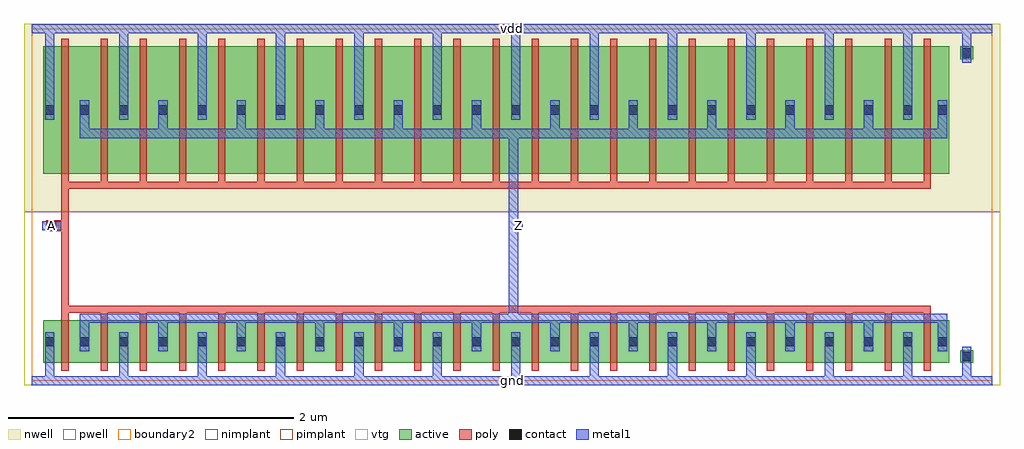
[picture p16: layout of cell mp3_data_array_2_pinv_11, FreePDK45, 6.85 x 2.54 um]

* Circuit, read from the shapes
.subckt mp3_data_array_2_pinv_11 A Z gnd vdd
M1 Z A gnd gnd nfet w=0.2975u l=0.05u m=23
M2 Z A vdd vdd pfet w=0.8925u l=0.05u m=23
.ends

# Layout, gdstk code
import gdstk
lib = gdstk.Library(unit=1e-6, precision=5e-10)
def R(c, l, rs):  # rectangles x0, y0, x1, y1
    for r in rs: c.add(gdstk.rectangle(r[:2], r[2:], *l))
def A(c, l, x, y, w, h, nx, ny, dx, dy):  # array of equal rectangles
    R(c, l, [(x+i*dx, y+j*dy, x+i*dx+w, y+j*dy+h) for i in range(nx) for j in range(ny)])
active = (1, 0)
pwell = (2, 0)
nwell = (3, 0)
nimplant = (4, 0)
pimplant = (5, 0)
vtg = (6, 0)
poly = (9, 0)
contact = (10, 0)
metal1 = (11, 0)
boundary2 = (239, 0)

mp3_data_array_2_contact = lib.new_cell('mp3_data_array_2_contact_11')
R(mp3_data_array_2_contact, active, [(0,0.0225,0.09,0.1125)])
R(mp3_data_array_2_contact, nwell, [(-0.055,-0.0325,0.145,0.1675)])
R(mp3_data_array_2_contact, pimplant, [(0,0.0225,0.09,0.1125)])
R(mp3_data_array_2_contact, contact, [(0.0125,0.035,0.0775,0.1)])
R(mp3_data_array_2_contact, metal1, [(0.0125,0,0.0775,0.135)])
R(mp3_data_array_2_contact, boundary2, [(-0.055,-0.0325,0.145,0.1675)])

mp3_data_array_2_pmos_m2 = lib.new_cell('mp3_data_array_2_pmos_m23_w0_893_sm1_dm1_da_p')
R(mp3_data_array_2_pmos_m2, active, [(0,0,6.355,0.8925)])
R(mp3_data_array_2_pmos_m2, nwell, [(-0.08,-0.08,6.435,0.9725)])
R(mp3_data_array_2_pmos_m2, pimplant, [(0,0,6.355,0.8925)])
R(mp3_data_array_2_pmos_m2, vtg, [(-0.08,-0.08,6.435,0.9725)])
A(mp3_data_array_2_pmos_m2, poly, 0.1275, -0.055, 0.05, 1.0025, 23, 1, 0.275, 0)
R(mp3_data_array_2_pmos_m2, poly, [(0.1275,-0.105,6.2275,-0.055)])
A(mp3_data_array_2_pmos_m2, metal1, 0.2575, 0.28, 0.065, 0.165, 11, 1, 0.55, 0)
A(mp3_data_array_2_pmos_m2, metal1, 0.5325, 0.38, 0.065, 0.135, 11, 1, 0.55, 0)
R(mp3_data_array_2_pmos_m2, metal1, [(0.2575,0.25,6.3425,0.315), (6.2775,0.28,6.3425,0.445), (0.0125,0.38,0.0775,0.515)])
R(mp3_data_array_2_pmos_m2, boundary2, [(-0.08,-0.105,6.435,0.9725)])
mp3_data_array_2_pmos_m2.add(gdstk.Reference(mp3_data_array_2_contact, (0,0.38)))
mp3_data_array_2_pmos_m2.add(gdstk.Reference(mp3_data_array_2_contact, (0.245,0.38)))
mp3_data_array_2_pmos_m2.add(gdstk.Reference(mp3_data_array_2_contact, (0.52,0.38)))
mp3_data_array_2_pmos_m2.add(gdstk.Reference(mp3_data_array_2_contact, (0.795,0.38)))
mp3_data_array_2_pmos_m2.add(gdstk.Reference(mp3_data_array_2_contact, (1.07,0.38)))
mp3_data_array_2_pmos_m2.add(gdstk.Reference(mp3_data_array_2_contact, (1.345,0.38)))
mp3_data_array_2_pmos_m2.add(gdstk.Reference(mp3_data_array_2_contact, (1.62,0.38)))
mp3_data_array_2_pmos_m2.add(gdstk.Reference(mp3_data_array_2_contact, (1.895,0.38)))
mp3_data_array_2_pmos_m2.add(gdstk.Reference(mp3_data_array_2_contact, (2.17,0.38)))
mp3_data_array_2_pmos_m2.add(gdstk.Reference(mp3_data_array_2_contact, (2.445,0.38)))
mp3_data_array_2_pmos_m2.add(gdstk.Reference(mp3_data_array_2_contact, (2.72,0.38)))
mp3_data_array_2_pmos_m2.add(gdstk.Reference(mp3_data_array_2_contact, (2.995,0.38)))
mp3_data_array_2_pmos_m2.add(gdstk.Reference(mp3_data_array_2_contact, (3.27,0.38)))
mp3_data_array_2_pmos_m2.add(gdstk.Reference(mp3_data_array_2_contact, (3.545,0.38)))
mp3_data_array_2_pmos_m2.add(gdstk.Reference(mp3_data_array_2_contact, (3.82,0.38)))
mp3_data_array_2_pmos_m2.add(gdstk.Reference(mp3_data_array_2_contact, (4.095,0.38)))
mp3_data_array_2_pmos_m2.add(gdstk.Reference(mp3_data_array_2_contact, (4.37,0.38)))
mp3_data_array_2_pmos_m2.add(gdstk.Reference(mp3_data_array_2_contact, (4.645,0.38)))
mp3_data_array_2_pmos_m2.add(gdstk.Reference(mp3_data_array_2_contact, (4.92,0.38)))
mp3_data_array_2_pmos_m2.add(gdstk.Reference(mp3_data_array_2_contact, (5.195,0.38)))
mp3_data_array_2_pmos_m2.add(gdstk.Reference(mp3_data_array_2_contact, (5.47,0.38)))
mp3_data_array_2_pmos_m2.add(gdstk.Reference(mp3_data_array_2_contact, (5.745,0.38)))
mp3_data_array_2_pmos_m2.add(gdstk.Reference(mp3_data_array_2_contact, (6.02,0.38)))
mp3_data_array_2_pmos_m2.add(gdstk.Reference(mp3_data_array_2_contact, (6.265,0.38)))
mp3_data_array_2_pmos_m2.add(gdstk.Label('G', (3.1775,-0.08), layer=9, texttype=0))
mp3_data_array_2_pmos_m2.add(gdstk.Label('S', (5.515,0.4475), layer=11, texttype=0))
mp3_data_array_2_pmos_m2.add(gdstk.Label('S', (1.115,0.4475), layer=11, texttype=0))
mp3_data_array_2_pmos_m2.add(gdstk.Label('S', (0.565,0.4475), layer=11, texttype=0))
mp3_data_array_2_pmos_m2.add(gdstk.Label('S', (4.965,0.4475), layer=11, texttype=0))
mp3_data_array_2_pmos_m2.add(gdstk.Label('S', (2.215,0.4475), layer=11, texttype=0))
mp3_data_array_2_pmos_m2.add(gdstk.Label('S', (2.765,0.4475), layer=11, texttype=0))
mp3_data_array_2_pmos_m2.add(gdstk.Label('S', (4.415,0.4475), layer=11, texttype=0))
mp3_data_array_2_pmos_m2.add(gdstk.Label('S', (1.665,0.4475), layer=11, texttype=0))
mp3_data_array_2_pmos_m2.add(gdstk.Label('S', (0.045,0.4475), layer=11, texttype=0))
mp3_data_array_2_pmos_m2.add(gdstk.Label('S', (3.865,0.4475), layer=11, texttype=0))
mp3_data_array_2_pmos_m2.add(gdstk.Label('S', (3.315,0.4475), layer=11, texttype=0))
mp3_data_array_2_pmos_m2.add(gdstk.Label('S', (6.065,0.4475), layer=11, texttype=0))
mp3_data_array_2_pmos_m2.add(gdstk.Label('D', (3.3,0.2825), layer=11, texttype=0))

c_mp3_data_array_2_contact = lib.new_cell('mp3_data_array_2_contact_10')
R(c_mp3_data_array_2_contact, active, [(0,0.0225,0.09,0.1125)])
R(c_mp3_data_array_2_contact, pwell, [(-0.055,-0.0325,0.145,0.1675)])
R(c_mp3_data_array_2_contact, nimplant, [(0,0.0225,0.09,0.1125)])
R(c_mp3_data_array_2_contact, contact, [(0.0125,0.035,0.0775,0.1)])
R(c_mp3_data_array_2_contact, metal1, [(0.0125,0,0.0775,0.135)])
R(c_mp3_data_array_2_contact, boundary2, [(-0.055,-0.0325,0.145,0.1675)])

mp3_data_array_2_nmos_m2 = lib.new_cell('mp3_data_array_2_nmos_m23_w0_297_sm1_dm1_da_p')
R(mp3_data_array_2_nmos_m2, active, [(0,0,6.355,0.2975)])
R(mp3_data_array_2_nmos_m2, pwell, [(-0.08,-0.08,6.435,0.3775)])
R(mp3_data_array_2_nmos_m2, nimplant, [(0,0,6.355,0.2975)])
R(mp3_data_array_2_nmos_m2, vtg, [(-0.08,-0.08,6.435,0.3775)])
A(mp3_data_array_2_nmos_m2, poly, 0.1275, -0.055, 0.05, 0.4075, 23, 1, 0.275, 0)
R(mp3_data_array_2_nmos_m2, poly, [(0.1275,0.3525,6.2275,0.4025)])
A(mp3_data_array_2_nmos_m2, metal1, 0.5325, 0.08, 0.065, 0.135, 11, 1, 0.55, 0)
A(mp3_data_array_2_nmos_m2, metal1, 0.2575, 0.15, 0.065, 0.165, 11, 1, 0.55, 0)
R(mp3_data_array_2_nmos_m2, metal1, [(0.0125,0.08,0.0775,0.215), (6.2775,0.15,6.3425,0.315), (0.2575,0.28,6.3425,0.345)])
R(mp3_data_array_2_nmos_m2, boundary2, [(-0.08,-0.08,6.435,0.4025)])
mp3_data_array_2_nmos_m2.add(gdstk.Reference(c_mp3_data_array_2_contact, (0,0.08)))
mp3_data_array_2_nmos_m2.add(gdstk.Reference(c_mp3_data_array_2_contact, (0.245,0.08)))
mp3_data_array_2_nmos_m2.add(gdstk.Reference(c_mp3_data_array_2_contact, (0.52,0.08)))
mp3_data_array_2_nmos_m2.add(gdstk.Reference(c_mp3_data_array_2_contact, (0.795,0.08)))
mp3_data_array_2_nmos_m2.add(gdstk.Reference(c_mp3_data_array_2_contact, (1.07,0.08)))
mp3_data_array_2_nmos_m2.add(gdstk.Reference(c_mp3_data_array_2_contact, (1.345,0.08)))
mp3_data_array_2_nmos_m2.add(gdstk.Reference(c_mp3_data_array_2_contact, (1.62,0.08)))
mp3_data_array_2_nmos_m2.add(gdstk.Reference(c_mp3_data_array_2_contact, (1.895,0.08)))
mp3_data_array_2_nmos_m2.add(gdstk.Reference(c_mp3_data_array_2_contact, (2.17,0.08)))
mp3_data_array_2_nmos_m2.add(gdstk.Reference(c_mp3_data_array_2_contact, (2.445,0.08)))
mp3_data_array_2_nmos_m2.add(gdstk.Reference(c_mp3_data_array_2_contact, (2.72,0.08)))
mp3_data_array_2_nmos_m2.add(gdstk.Reference(c_mp3_data_array_2_contact, (2.995,0.08)))
mp3_data_array_2_nmos_m2.add(gdstk.Reference(c_mp3_data_array_2_contact, (3.27,0.08)))
mp3_data_array_2_nmos_m2.add(gdstk.Reference(c_mp3_data_array_2_contact, (3.545,0.08)))
mp3_data_array_2_nmos_m2.add(gdstk.Reference(c_mp3_data_array_2_contact, (3.82,0.08)))
mp3_data_array_2_nmos_m2.add(gdstk.Reference(c_mp3_data_array_2_contact, (4.095,0.08)))
mp3_data_array_2_nmos_m2.add(gdstk.Reference(c_mp3_data_array_2_contact, (4.37,0.08)))
mp3_data_array_2_nmos_m2.add(gdstk.Reference(c_mp3_data_array_2_contact, (4.645,0.08)))
mp3_data_array_2_nmos_m2.add(gdstk.Reference(c_mp3_data_array_2_contact, (4.92,0.08)))
mp3_data_array_2_nmos_m2.add(gdstk.Reference(c_mp3_data_array_2_contact, (5.195,0.08)))
mp3_data_array_2_nmos_m2.add(gdstk.Reference(c_mp3_data_array_2_contact, (5.47,0.08)))
mp3_data_array_2_nmos_m2.add(gdstk.Reference(c_mp3_data_array_2_contact, (5.745,0.08)))
mp3_data_array_2_nmos_m2.add(gdstk.Reference(c_mp3_data_array_2_contact, (6.02,0.08)))
mp3_data_array_2_nmos_m2.add(gdstk.Reference(c_mp3_data_array_2_contact, (6.265,0.08)))
mp3_data_array_2_nmos_m2.add(gdstk.Label('G', (3.1775,0.3775), layer=9, texttype=0))
mp3_data_array_2_nmos_m2.add(gdstk.Label('S', (2.215,0.1475), layer=11, texttype=0))
mp3_data_array_2_nmos_m2.add(gdstk.Label('S', (6.065,0.1475), layer=11, texttype=0))
mp3_data_array_2_nmos_m2.add(gdstk.Label('S', (2.765,0.1475), layer=11, texttype=0))
mp3_data_array_2_nmos_m2.add(gdstk.Label('S', (5.515,0.1475), layer=11, texttype=0))
mp3_data_array_2_nmos_m2.add(gdstk.Label('S', (4.965,0.1475), layer=11, texttype=0))
mp3_data_array_2_nmos_m2.add(gdstk.Label('S', (4.415,0.1475), layer=11, texttype=0))
mp3_data_array_2_nmos_m2.add(gdstk.Label('S', (1.115,0.1475), layer=11, texttype=0))
mp3_data_array_2_nmos_m2.add(gdstk.Label('S', (3.315,0.1475), layer=11, texttype=0))
mp3_data_array_2_nmos_m2.add(gdstk.Label('S', (0.045,0.1475), layer=11, texttype=0))
mp3_data_array_2_nmos_m2.add(gdstk.Label('S', (0.565,0.1475), layer=11, texttype=0))
mp3_data_array_2_nmos_m2.add(gdstk.Label('S', (1.665,0.1475), layer=11, texttype=0))
mp3_data_array_2_nmos_m2.add(gdstk.Label('S', (3.865,0.1475), layer=11, texttype=0))
mp3_data_array_2_nmos_m2.add(gdstk.Label('D', (3.3,0.3125), layer=11, texttype=0))

c_mp3_data_array_2_contact_ = lib.new_cell('mp3_data_array_2_contact_12')
R(c_mp3_data_array_2_contact_, active, [(0,0.0225,0.09,0.1125)])
R(c_mp3_data_array_2_contact_, nwell, [(-0.055,-0.0325,0.145,0.1675)])
R(c_mp3_data_array_2_contact_, nimplant, [(0,0.0225,0.09,0.1125)])
R(c_mp3_data_array_2_contact_, contact, [(0.0125,0.035,0.0775,0.1)])
R(c_mp3_data_array_2_contact_, metal1, [(0.0125,0,0.0775,0.135)])
R(c_mp3_data_array_2_contact_, boundary2, [(-0.055,-0.0325,0.145,0.1675)])

c_mp3_data_array_2_contact__ = lib.new_cell('mp3_data_array_2_contact_13')
R(c_mp3_data_array_2_contact__, active, [(0,0.0225,0.09,0.1125)])
R(c_mp3_data_array_2_contact__, pwell, [(-0.055,-0.0325,0.145,0.1675)])
R(c_mp3_data_array_2_contact__, pimplant, [(0,0.0225,0.09,0.1125)])
R(c_mp3_data_array_2_contact__, contact, [(0.0125,0.035,0.0775,0.1)])
R(c_mp3_data_array_2_contact__, metal1, [(0.0125,0,0.0775,0.135)])
R(c_mp3_data_array_2_contact__, boundary2, [(-0.055,-0.0325,0.145,0.1675)])

c_mp3_data_array_2_contact___ = lib.new_cell('mp3_data_array_2_contact_14')
R(c_mp3_data_array_2_contact___, poly, [(0.03,0,0.105,0.075)])
R(c_mp3_data_array_2_contact___, contact, [(0.035,0.005,0.1,0.07)])
R(c_mp3_data_array_2_contact___, metal1, [(0,0.005,0.135,0.07)])
R(c_mp3_data_array_2_contact___, boundary2, [(0,0,0.135,0.075)])

mp3_data_array_2_pinv_11 = lib.new_cell('mp3_data_array_2_pinv_11')
R(mp3_data_array_2_pinv_11, pwell, [(-0.055,-0.0325,6.7925,1.185)])
R(mp3_data_array_2_pinv_11, nwell, [(-0.055,1.185,6.7925,2.505)])
R(mp3_data_array_2_pinv_11, vtg, [(-0.055,-0.0325,6.7925,1.185), (-0.055,1.185,6.7925,2.505)])
R(mp3_data_array_2_pinv_11, poly, [(0.2075,0.5275,0.2575,1.3475), (0.14,1.05,0.2075,1.125)])
A(mp3_data_array_2_pinv_11, metal1, 0.6125, -0.0325, 0.065, 0.2375, 11, 1, 0.55, 0)
A(mp3_data_array_2_pinv_11, metal1, 0.6125, 1.8325, 0.065, 0.67, 11, 1, 0.55, 0)
R(mp3_data_array_2_pinv_11, metal1, [(0,-0.0325,6.7375,0.0325), (0.0925,-0.0325,0.1575,0.205), (6.5275,0,6.5925,0.17), (3.3475,0.405,3.4125,1.7675), (0.0725,1.055,0.2075,1.12), (3.38,1.055,3.445,1.12), (0.0925,1.8325,0.1575,2.5025), (6.5275,2.3,6.5925,2.47), (0,2.4375,6.7375,2.5025)])
R(mp3_data_array_2_pinv_11, boundary2, [(0,0,6.7375,2.47), (0,0,6.7375,2.47)])
mp3_data_array_2_pinv_11.add(gdstk.Reference(mp3_data_array_2_pmos_m2, (0.08,1.4525)))
mp3_data_array_2_pinv_11.add(gdstk.Reference(mp3_data_array_2_nmos_m2, (0.08,0.125)))
mp3_data_array_2_pinv_11.add(gdstk.Reference(c_mp3_data_array_2_contact_, (6.515,2.2325)))
mp3_data_array_2_pinv_11.add(gdstk.Reference(c_mp3_data_array_2_contact__, (6.515,0.1025)))
mp3_data_array_2_pinv_11.add(gdstk.Reference(c_mp3_data_array_2_contact___, (0.0725,1.05)))
mp3_data_array_2_pinv_11.add(gdstk.Label('A', (0.14,1.0875), layer=11, texttype=0))
mp3_data_array_2_pinv_11.add(gdstk.Label('Z', (3.4125,1.0875), layer=11, texttype=0))
mp3_data_array_2_pinv_11.add(gdstk.Label('gnd', (3.369,0), layer=11, texttype=0))
mp3_data_array_2_pinv_11.add(gdstk.Label('vdd', (3.369,2.47), layer=11, texttype=0))

lib.write_gds('mp3_data_array_2_pinv_11.gds')
